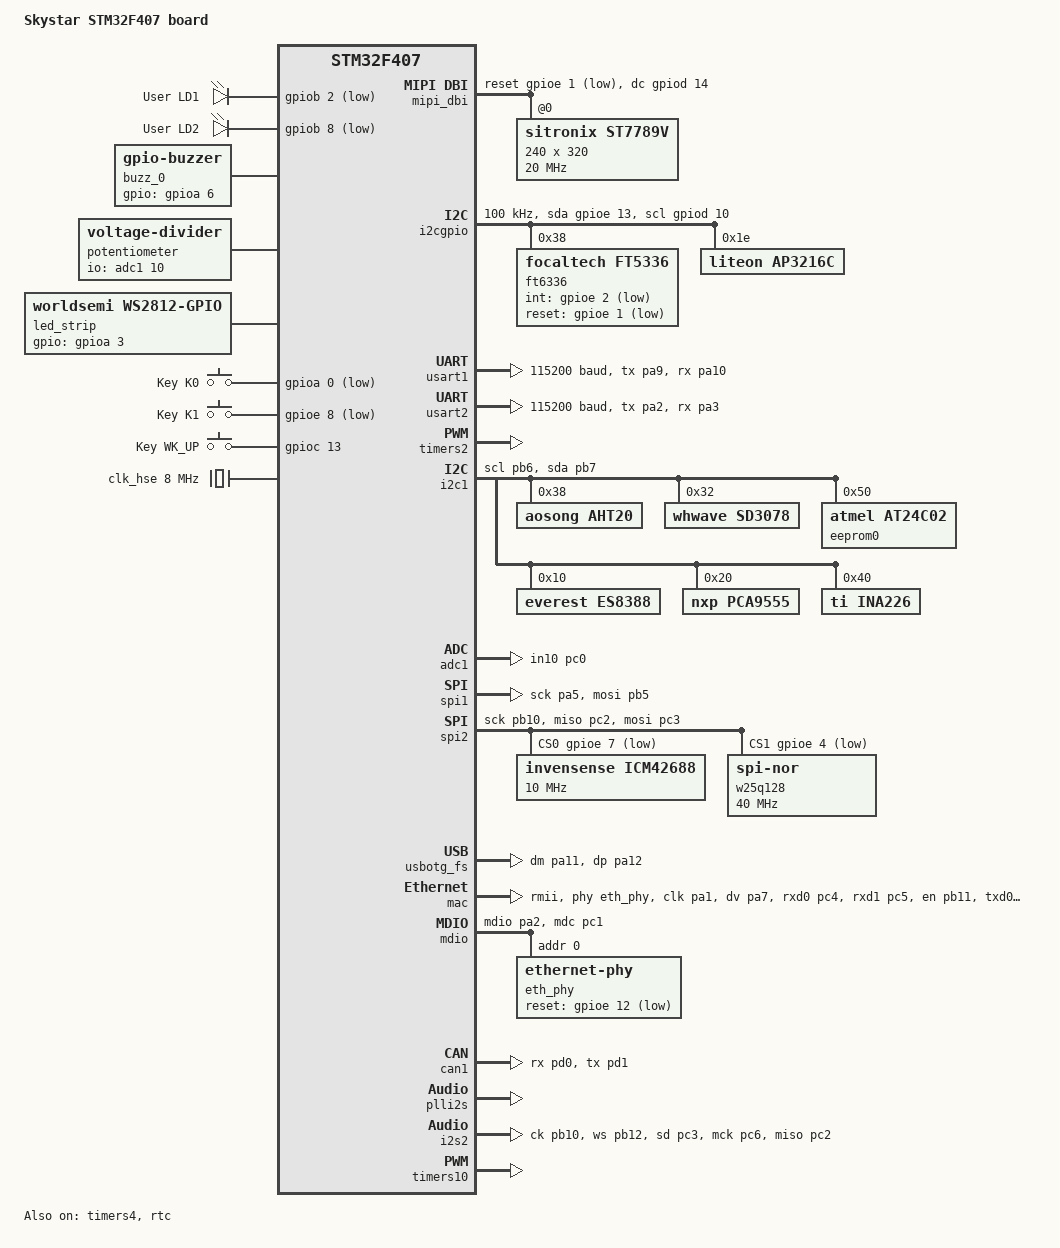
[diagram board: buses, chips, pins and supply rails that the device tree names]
/*
 * Copyright (c) 2025 O431
 *
 * SPDX-License-Identifier: MIT
 */

/dts-v1/;
#include <st/f4/stm32f407Xe.dtsi>
#include <st/f4/stm32f407v(e-g)tx-pinctrl.dtsi>
#include <zephyr/dt-bindings/input/input-event-codes.h>
#include <zephyr/dt-bindings/sensor/qdec_stm32.h>
#include <zephyr/dt-bindings/led/led.h>
#include <zephyr/dt-bindings/mipi_dbi/mipi_dbi.h>
#include <zephyr/dt-bindings/display/panel.h>

/ {
	model = "Skystar STM32F407 board";
	compatible = "skystar,stm32f407";

	chosen {
		zephyr,console = &usart1;
		zephyr,shell-uart = &usart1;
		zephyr,sram = &sram0;
		zephyr,flash = &flash0;
		zephyr,dtcm = &ccm0;
	};

	leds {
		compatible = "gpio-leds";

		green_led_1: led_1 {
			gpios = <&gpiob 2 GPIO_ACTIVE_LOW>;
			label = "User LD1";
		};

		green_led_2: led_2 {
			gpios = <&gpiob 8 GPIO_ACTIVE_LOW>;
			label = "User LD2";
		};
	};

	buzz_0: buzz {
		compatible = "gpio-buzzer";
		gpios = <&gpioa 6 GPIO_ACTIVE_HIGH>;
	};

	potentiometer {
		compatible = "voltage-divider";
		io-channels = <&adc1 10>;
		output-ohms = <10000>;
		full-ohms = <10000>;
	};

	led_strip: ws2812 {
		compatible = "worldsemi,ws2812-gpio";
		gpios = <&gpioa 3 GPIO_ACTIVE_HIGH>;
		chain-length = <1>;
		color-mapping = <LED_COLOR_ID_GREEN
				 LED_COLOR_ID_RED
				 LED_COLOR_ID_BLUE>;
		reset-delay = <280>;
	};

	mipi_dbi {
		compatible = "zephyr,mipi-dbi-spi";
		spi-dev = <&spi1>;
		dc-gpios = <&gpiod 14 GPIO_ACTIVE_HIGH>;
		reset-gpios = <&gpioe 1 GPIO_ACTIVE_LOW>;
		#address-cells = <1>;
		#size-cells = <0>;

		st7789v: st7789v@0 {
			compatible = "sitronix,st7789v";
			reg = <0>;
			mipi-max-frequency = <20000000>;
			width = <240>;
			height = <320>;
			x-offset = <0>;
			y-offset = <0>;
			vcom = <0x19>;
			gctrl = <0x35>;
			vrhs = <0x12>;
			vdvs = <0x20>;
			mdac = <0x00>;
			gamma = <0x01>;
			pixel-format = <PANEL_PIXEL_FORMAT_RGB_565>;
			lcm = <0x2c>;
			porch-param = [0c 0c 00 33 33];
			cmd2en-param = [5a 69 02 01];
			pwctrl1-param = [a4 a1];
			pvgam-param = [d0 04 0d 11 13 2b 3f 54 4c 18 0d 0b 1f 23];
			nvgam-param = [d0 04 0c 11 13 2c 3f 44 51 2f 1f 1f 20 23];
			ram-param = [00 f0];
			rgb-param = [cd 08 14];
			mipi-mode = "MIPI_DBI_MODE_SPI_4WIRE";
		};
	};

	gpio_keys {
		compatible = "gpio-keys";

		user_button_0: K0 {
			label = "Key K0";
			gpios = <&gpioa 0 GPIO_ACTIVE_LOW>;
			zephyr,code = <INPUT_KEY_0>;
		};

		user_button_1: K1 {
			label = "Key K1";
			gpios = <&gpioe 8 GPIO_ACTIVE_LOW>;
			zephyr,code = <INPUT_KEY_1>;
		};

		user_button_UP: K_UP {
			label = "Key WK_UP";
			gpios = <&gpioc 13 GPIO_ACTIVE_HIGH>;
			zephyr,code = <INPUT_KEY_UP>;
		};
	};

	aliases {
		led0 = &green_led_1;
		led1 = &green_led_2;
		buzz = &buzz_0;
		sw0 = &user_button_UP;
		qdec0 = &qdec;
	};

	i2cgpio: i2c-gpio {
		compatible = "gpio-i2c";
		scl-gpios = <&gpiod 10 (GPIO_OPEN_DRAIN | GPIO_PULL_UP)>;
		sda-gpios = <&gpioe 13 (GPIO_OPEN_DRAIN | GPIO_PULL_UP)>;
		#address-cells = <1>;
		#size-cells = <0>;
		clock-frequency = <100000>;
		status = "okay";

		ft6336: touch@38 {
			compatible = "focaltech,ft5336";
			reg = <0x38>;
			int-gpios = <&gpioe 2 GPIO_ACTIVE_LOW>;
			reset-gpios = <&gpioe 1 GPIO_ACTIVE_LOW>;
		};

		ap3216c: sensor@1e {
			compatible = "liteon,ap3216c";
			reg = <0x1e>;
		};
	};
};

&clk_lsi {
	status = "okay";
};

&clk_hse {
	clock-frequency = <DT_FREQ_M(8)>;
	status = "okay";
};

&pll {
	div-m = <8>;
	mul-n = <336>;
	div-p = <2>;
	div-q = <7>;
	clocks = <&clk_hse>;
	status = "okay";
};

&rcc {
	clocks = <&pll>;
	clock-frequency = <DT_FREQ_M(168)>;
	ahb-prescaler = <1>;
	apb1-prescaler = <4>;
	apb2-prescaler = <2>;
};

&usart1 {
	pinctrl-0 = <&usart1_tx_pa9 &usart1_rx_pa10>;
	pinctrl-names = "default";
	current-speed = <115200>;
	status = "okay";
};

&usart2 {
	pinctrl-0 = <&usart2_tx_pa2 &usart2_rx_pa3>;
	pinctrl-names = "default";
	current-speed = <115200>;
	status = "okay";
};

&timers2 {
	status = "okay";

	pwm2: pwm {
		status = "okay";
		pinctrl-0 = <&tim2_ch1_pa0>;
		pinctrl-names = "default";
	};
};

&timers4 {
	status = "okay";

	qdec: qdec {
		status = "okay";
		pinctrl-0 = <&tim4_ch1_pd12 &tim4_ch2_pd13>;
		pinctrl-names = "default";
		st,counts-per-revolution = <20>;
	};
};

&rtc {
	clocks = <&rcc STM32_CLOCK(APB1, 28)>,
		 <&rcc STM32_SRC_LSI RTC_SEL(2)>;
	status = "okay";
};

&i2c1 {
	pinctrl-0 = <&i2c1_scl_pb6 &i2c1_sda_pb7>;
	pinctrl-names = "default";
	status = "okay";

	aht20: aht20@38 {
		compatible = "aosong,aht20";
		reg = <0x38>;
	};

	sd3078: rtc@32 {
		compatible = "whwave,sd3078";
		reg = <0x32>;
	};

	eeprom0: eeprom@50 {
		compatible = "atmel,at24c02", "atmel,at24";
		reg = <0x50>;
		size = <256>;
		pagesize = <8>;
		address-width = <8>;
		timeout = <5>;
	};

	es8388: audio-codec@10 {
		compatible = "everest,es8388";
		reg = <0x10>;
	};

	pca9555: gpio@20 {
		compatible = "nxp,pca9555";
		reg = <0x20>;
		gpio-controller;
		#gpio-cells = <2>;
		ngpios = <16>;
	};

	ina226: ina226@40 {
		compatible = "ti,ina226";
		reg = <0x40>;
		current-lsb-microamps = <300>;
		rshunt-micro-ohms = <10000>;
	};
};

&adc1 {
	pinctrl-0 = <&adc1_in10_pc0>;
	pinctrl-names = "default";
	st,adc-prescaler = <4>;
	status = "okay";
};

&spi1 {
	pinctrl-0 = <&spi1_sck_pa5 &spi1_mosi_pb5>;
	pinctrl-names = "default";
	cs-gpios = <&gpioe 14 GPIO_ACTIVE_LOW>;
	status = "okay";
};

&spi2 {
	pinctrl-0 = <&spi2_sck_pb10 &spi2_miso_pc2 &spi2_mosi_pc3>;
	pinctrl-names = "default";
	cs-gpios = <&gpioe 7 GPIO_ACTIVE_LOW>, <&gpioe 4 GPIO_ACTIVE_LOW>;
	status = "okay";

	icm42688: icm42688@0 {
		compatible = "invensense,icm42688", "invensense,icm4268x";
		reg = <0>;
		spi-max-frequency = <10000000>;
		accel-pwr-mode = <3>;
		gyro-pwr-mode = <3>;
		accel-fs = <3>;
		gyro-fs = <7>;
		accel-odr = <8>;
		gyro-odr = <8>;
	};

	w25q128: w25q128@1 {
		compatible = "jedec,spi-nor";
		reg = <1>;
		spi-max-frequency = <40000000>;
		size = <DT_SIZE_M(128)>;
		jedec-id = [ef 40 18];
		has-dpd;
		t-enter-dpd = <3000>;
		t-exit-dpd = <3000>;
	};
};

zephyr_udc0: &usbotg_fs {
	pinctrl-0 = <&usb_otg_fs_dm_pa11 &usb_otg_fs_dp_pa12>;
	pinctrl-names = "default";
	status = "okay";
};

&mac {
	status = "okay";
	pinctrl-0 = <&eth_ref_clk_pa1
		     &eth_crs_dv_pa7
		     &eth_rxd0_pc4
		     &eth_rxd1_pc5
		     &eth_tx_en_pb11
		     &eth_txd0_pb12
		     &eth_txd1_pb13>;
	pinctrl-names = "default";
	phy-connection-type = "rmii";
	phy-handle = <&eth_phy>;
};

&mdio {
	status = "okay";
	pinctrl-0 = <&eth_mdio_pa2 &eth_mdc_pc1>;
	pinctrl-names = "default";

	eth_phy: ethernet-phy@0 {
		compatible = "ethernet-phy";
		reg = <0x00>;
		reset-gpios = <&gpioe 12 GPIO_ACTIVE_LOW>;
	};
};

&can1 {
	pinctrl-0 = <&can1_rx_pd0 &can1_tx_pd1>;
	pinctrl-names = "default";
	status = "okay";
};

&plli2s {
	div-m = <8>;
	mul-n = <271>;
	div-r = <2>;
	clocks = <&clk_hse>;
	status = "okay";
};

&i2s2 {
	mck-enabled;
	pinctrl-0 = <&i2s2_ck_pb10 &i2s2_ws_pb12
		     &i2s2_sd_pc3 &i2s2_mck_pc6
		     &spi2_miso_pc2>;
	pinctrl-names = "default";
	clocks = <&rcc STM32_CLOCK(APB1, 14)>,
		 <&rcc STM32_SRC_PLLI2S_R I2S_SEL(0)>;
	status = "okay";
};

&timers10 {
	st,prescaler = <0>;
	status = "okay";

	pwm10: pwm {
		status = "okay";
		pinctrl-0 = <&tim10_ch1_pb8>;
		pinctrl-names = "default";
	};
};


